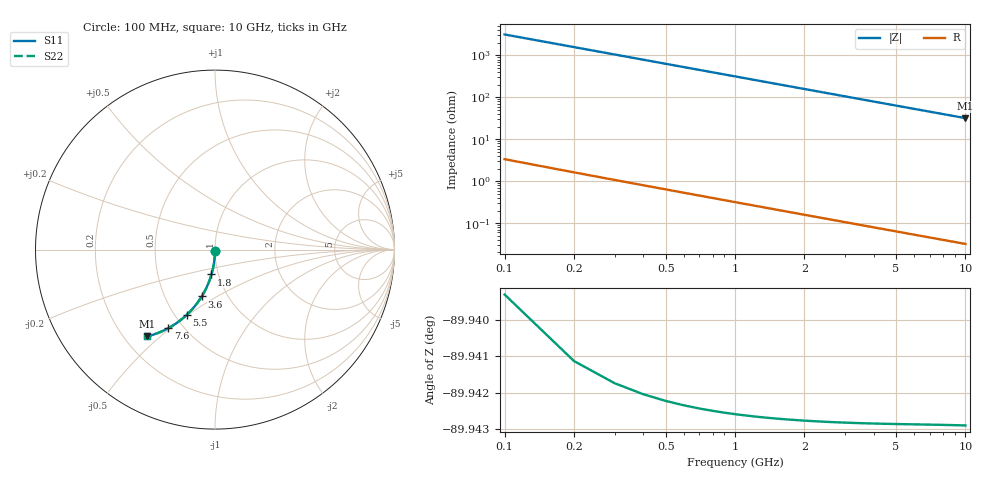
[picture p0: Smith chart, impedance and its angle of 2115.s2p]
# Hz S RI R 50.00
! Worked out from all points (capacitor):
!   100 points, 100 MHz to 10 GHz, reference 50 ohm
!   read as one part in shunt: C = 502 fF near 100 MHz
!   lowest |Z| = 32.1 ohm at 10 GHz (marker M1)
!   S11 on the Smith chart (normalised r, x): 100 MHz: 1.00, -0.02; 1.8 GHz: 0.93, -0.26; 3.6 GHz: 0.76, -0.43; 5.5 GHz: 0.57, -0.49; 7.6 GHz: 0.42, -0.49; 10 GHz: 0.29, -0.45
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1e8  -6.82e-05 -0.00787  0.9999 -0.00788  0.9999 -0.00788  -6.82e-05 -0.00787
2e8  -0.000262 -0.0157  0.9997 -0.0158  0.9997 -0.0158  -0.000262 -0.0157
3e8  -0.00058 -0.0236  0.9994 -0.0236  0.9994 -0.0236  -0.00058 -0.0236
4e8  -0.00102 -0.0314  0.999 -0.0315  0.999 -0.0315  -0.00102 -0.0314
5e8  -0.00159 -0.0393  0.9984 -0.0394  0.9984 -0.0394  -0.00159 -0.0393
6e8  -0.00227 -0.0471  0.9977 -0.0472  0.9977 -0.0472  -0.00227 -0.0471
8e8  -0.00401 -0.0627  0.996 -0.0628  0.996 -0.0628  -0.00401 -0.0627
1.1e9  -0.00753 -0.0859  0.9925 -0.086  0.9925 -0.086  -0.00753 -0.0859
1.4e9  -0.0121 -0.1087  0.9879 -0.1089  0.9879 -0.1089  -0.0121 -0.1087
1.8e9  -0.0198 -0.1387  0.9802 -0.1389  0.9802 -0.1389  -0.0198 -0.1387
2.1e9  -0.0267 -0.1606  0.9733 -0.1609  0.9733 -0.1609  -0.0267 -0.1606
2.5e9  -0.0373 -0.1889  0.9626 -0.1893  0.9626 -0.1893  -0.0373 -0.1889
2.9e9  -0.0495 -0.2163  0.9505 -0.2167  0.9505 -0.2167  -0.0495 -0.2163
3.4e9  -0.0667 -0.2488  0.9333 -0.2493  0.9333 -0.2493  -0.0667 -0.2488
3.6e9  -0.0741 -0.2613  0.9258 -0.2618  0.9258 -0.2618  -0.0741 -0.2613
4.3e9  -0.1023 -0.3023  0.8977 -0.3029  0.8977 -0.3029  -0.1023 -0.3023
5.1e9  -0.1379 -0.3439  0.8621 -0.3446  0.8621 -0.3446  -0.1379 -0.3439
5.5e9  -0.1567 -0.3626  0.8433 -0.3634  0.8433 -0.3634  -0.1567 -0.3626
6.7e9  -0.2156 -0.4102  0.7844 -0.4112  0.7844 -0.4112  -0.2156 -0.4102
7.6e9  -0.2608 -0.438  0.7392 -0.4391  0.7392 -0.4391  -0.2608 -0.438
8.4e9  -0.3008 -0.4575  0.6992 -0.4587  0.6992 -0.4587  -0.3008 -0.4575
1e10  -0.3781 -0.4837  0.6219 -0.4851  0.6219 -0.4851  -0.3781 -0.4837
